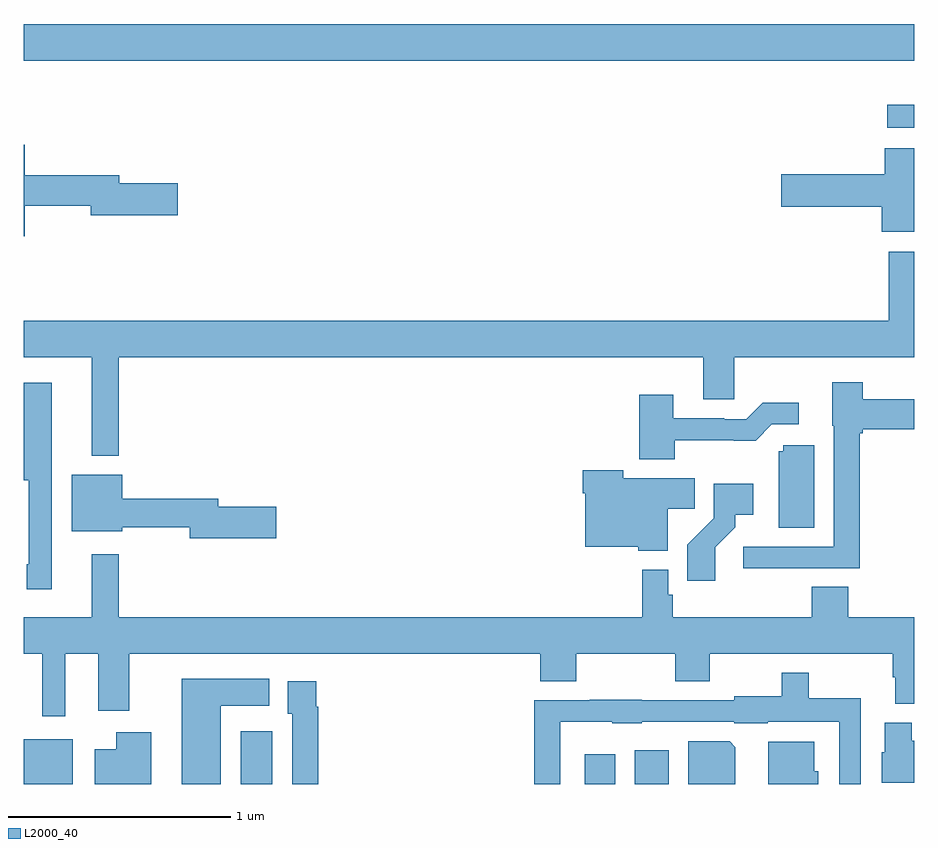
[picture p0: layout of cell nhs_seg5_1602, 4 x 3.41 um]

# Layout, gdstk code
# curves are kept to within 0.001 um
import gdstk
lib = gdstk.Library(unit=1e-6, precision=1e-09)
def R(c, l, rs):  # rectangles x0, y0, x1, y1
    for r in rs: c.add(gdstk.rectangle(r[:2], r[2:], *l))
def P(c, l, *ps):  # polygons
    for p in ps: c.add(gdstk.Polygon(p, *l))
L2000_40 = (2000, 40)

nhs_seg5_1602 = lib.new_cell('nhs_seg5_1602')
R(nhs_seg5_1602, L2000_40, [(207,898.799,207.22,898.999), (207.974,898.799,208.117,899.035), (209.519,898.799,209.656,898.933), (209.744,898.799,209.896,898.951), (210.879,901.745,211,901.849), (207,902.048,211,902.212)])
P(nhs_seg5_1602, L2000_40, [(207.004,901.396),(207.302,901.396),(207.302,901.354),(207.691,901.354),(207.691,901.496),(207.43,901.496),(207.43,901.532),(207.004,901.532),(207.004,901.669),(207,901.669),(207,901.259),(207.004,901.259)],
  [(211,901.654),(210.866,901.654),(210.866,901.538),(210.402,901.538),(210.402,901.391),(210.854,901.391),(210.854,901.278),(211,901.278)],
  [(207.427,900.716),(210.053,900.716),(210.053,900.526),(210.192,900.526),(210.192,900.716),(211,900.716),(211,901.189),(210.886,901.189),(210.886,900.88),(207,900.88),(207,900.716),(207.305,900.716),(207.305,900.272),(207.427,900.272)],
  [(210.455,899.769),(210.755,899.769),(210.755,900.374),(210.768,900.374),(210.768,900.392),(211,900.392),(211,900.526),(210.768,900.526),(210.768,900.604),(210.632,900.604),(210.632,900.408),(210.639,900.408),(210.639,899.865),(210.231,899.865),(210.231,899.767),(210.455,899.767)],
  [(207.127,900.601),(207,900.601),(207,900.164),(207.023,900.164),(207.023,899.785),(207.013,899.785),(207.013,899.673),(207.127,899.673)],
  [(209.925,900.342),(210.287,900.341),(210.36,900.414),(210.481,900.414),(210.481,900.511),(210.319,900.511),(210.246,900.438),(210.146,900.438),(210.146,900.441),(209.917,900.441),(209.917,900.547),(209.765,900.547),(209.765,900.257),(209.925,900.257)],
  [(210.55,900.321),(210.411,900.321),(210.411,900.294),(210.392,900.294),(210.392,899.95),(210.55,899.95)],
  [(209.893,900.034),(210.014,900.034),(210.014,900.172),(209.693,900.172),(209.693,900.208),(209.51,900.208),(209.51,900.104),(209.522,900.104),(209.522,899.864),(209.76,899.864),(209.76,899.846),(209.893,899.846)],
  [(208.135,900.044),(207.874,900.044),(207.874,900.08),(207.442,900.08),(207.442,900.187),(207.215,900.187),(207.215,899.933),(207.442,899.933),(207.442,899.952),(207.746,899.952),(207.746,899.902),(208.135,899.902)],
  [(210.106,899.863),(210.196,899.953),(210.196,900.008),(210.277,900.008),(210.277,900.148),(210.099,900.148),(210.099,899.993),(209.98,899.874),(209.98,899.712),(210.106,899.712)],
  [(207.187,899.384),(207.335,899.384),(207.335,899.127),(207.475,899.127),(207.475,899.384),(209.321,899.384),(209.321,899.26),(209.481,899.26),(209.481,899.384),(209.926,899.384),(209.926,899.26),(210.081,899.26),(210.081,899.384),(210.903,899.384),(210.903,899.278),(210.914,899.278),(210.914,899.159),(211,899.159),(211,899.548),(210.704,899.548),(210.704,899.684),(210.539,899.684),(210.539,899.548),(209.915,899.548),(209.915,899.649),(209.895,899.649),(209.895,899.761),(209.779,899.761),(209.779,899.548),(207.427,899.548),(207.427,899.83),(207.305,899.83),(207.305,899.548),(207,899.548),(207,899.384),(207.083,899.384),(207.083,899.103),(207.187,899.103)],
  [(209.409,899.078),(209.643,899.078),(209.643,899.072),(209.775,899.072),(209.775,899.079),(210.192,899.079),(210.192,899.072),(210.342,899.072),(210.342,899.078),(210.663,899.078),(210.663,898.799),(210.759,898.799),(210.759,899.183),(210.526,899.183),(210.526,899.299),(210.405,899.299),(210.405,899.194),(210.192,899.194),(210.192,899.175),(209.775,899.175),(209.775,899.177),(209.543,899.177),(209.543,899.175),(209.293,899.175),(209.293,898.799),(209.409,898.799)],
  [(207.886,899.15),(208.102,899.15),(208.102,899.272),(207.71,899.272),(207.71,898.799),(207.886,898.799)],
  [(208.322,899.147),(208.315,899.147),(208.315,899.26),(208.187,899.26),(208.187,899.115),(208.206,899.115),(208.206,898.799),(208.322,898.799)],
  [(211,898.993),(210.988,898.993),(210.988,899.074),(210.866,899.074),(210.866,898.941),(210.854,898.941),(210.854,898.805),(211,898.805)],
  [(207.574,899.032),(207.416,899.032),(207.416,898.954),(207.32,898.954),(207.32,898.799),(207.574,898.799)],
  [(210.196,898.964),(210.17,898.99),(209.984,898.99),(209.984,898.799),(210.196,898.799)],
  [(210.568,898.857),(210.55,898.857),(210.55,898.988),(210.344,898.988),(210.344,898.799),(210.568,898.799)])

lib.write_gds('nhs_seg5_1602.gds')
